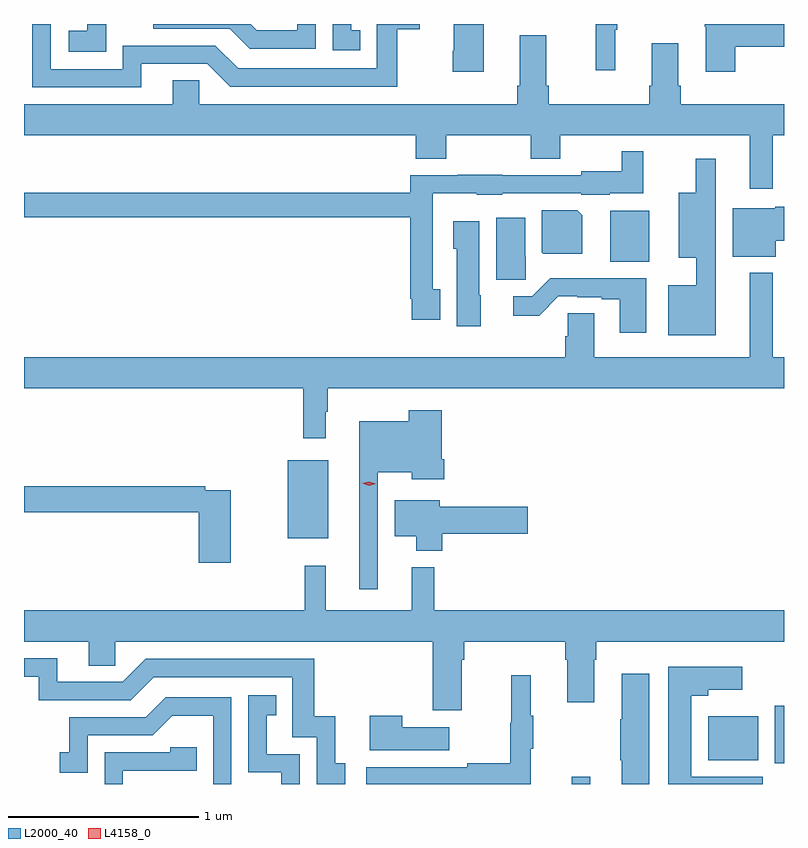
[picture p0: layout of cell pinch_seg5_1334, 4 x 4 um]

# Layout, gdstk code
import gdstk
lib = gdstk.Library(unit=1e-6, precision=1e-09)
def R(c, l, rs):  # rectangles x0, y0, x1, y1
    for r in rs: c.add(gdstk.rectangle(r[:2], r[2:], *l))
def P(c, l, *ps):  # polygons
    for p in ps: c.add(gdstk.Polygon(p, *l))
L2000_40 = (2000, 40)
L4158_0 = (4158, 0)

pinch_seg5_1334 = lib.new_cell('pinch_seg5_1334')
R(pinch_seg5_1334, L2000_40, [(295.611,901.298,295.708,901.336), (296.681,901.406,296.729,901.711), (296.33,901.424,296.593,901.654), (294.116,902.591,294.331,903.001), (295.814,904.046,296.02,904.316)])
P(pinch_seg5_1334, L2000_40, [(294.264,905.298),(294.168,905.298),(294.168,905.266),(293.954,905.266),(293.922,905.298),(293.41,905.298),(293.41,905.274),(293.813,905.274),(293.918,905.169),(294.264,905.169)],
  [(293.347,905.088),(293.694,905.088),(293.814,904.968),(294.694,904.968),(294.694,905.271),(294.812,905.271),(294.812,905.298),(294.585,905.298),(294.585,905.064),(293.856,905.064),(293.736,905.184),(293.25,905.184),(293.25,905.061),(292.869,905.061),(292.869,905.298),(292.773,905.298),(292.773,904.965),(293.347,904.965)],
  [(293.163,905.298),(293.063,905.298),(293.063,905.263),(292.965,905.263),(292.965,905.153),(293.163,905.153)],
  [(295.15,905.298),(294.992,905.298),(294.992,905.158),(294.985,905.158),(294.985,905.046),(295.15,905.046)],
  [(296.472,905.178),(296.729,905.178),(296.729,905.298),(296.311,905.298),(296.311,905.283),(296.318,905.283),(296.318,905.046),(296.472,905.046)],
  [(294.5,905.265),(294.451,905.265),(294.451,905.298),(294.354,905.298),(294.354,905.16),(294.5,905.16)],
  [(295.841,905.267),(295.852,905.267),(295.852,905.298),(295.738,905.298),(295.738,905.055),(295.841,905.055)],
  [(296.671,904.712),(296.729,904.712),(296.729,904.876),(296.186,904.876),(296.186,904.972),(296.173,904.972),(296.173,905.197),(296.033,905.197),(296.033,904.972),(296.021,904.972),(296.021,904.876),(295.49,904.876),(295.49,904.972),(295.477,904.972),(295.477,905.239),(295.337,905.239),(295.337,904.972),(295.325,904.972),(295.325,904.876),(293.652,904.876),(293.652,905.003),(293.513,905.003),(293.513,904.876),(292.729,904.876),(292.729,904.712),(294.791,904.712),(294.791,904.588),(294.951,904.588),(294.951,904.712),(295.396,904.712),(295.396,904.588),(295.551,904.588),(295.551,904.712),(296.549,904.712),(296.549,904.431),(296.671,904.431)],
  [(294.919,903.902),(294.879,903.902),(294.879,904.406),(295.113,904.406),(295.113,904.4),(295.245,904.4),(295.245,904.407),(295.662,904.407),(295.662,904.4),(295.812,904.4),(295.812,904.406),(295.988,904.406),(295.988,904.627),(295.875,904.627),(295.875,904.522),(295.662,904.522),(295.662,904.503),(295.245,904.503),(295.245,904.505),(295.013,904.505),(295.013,904.503),(294.763,904.503),(294.763,904.411),(292.729,904.411),(292.729,904.282),(294.763,904.282),(294.763,903.853),(294.771,903.853),(294.771,903.741),(294.919,903.741)],
  [(296.371,904.588),(296.265,904.588),(296.265,904.411),(296.174,904.411),(296.174,904.067),(296.267,904.067),(296.267,903.922),(296.12,903.922),(296.12,903.659),(296.371,903.659)],
  [(296.686,904.157),(296.729,904.157),(296.729,904.335),(296.682,904.335),(296.682,904.327),(296.459,904.327),(296.459,904.073),(296.686,904.073)],
  [(295.666,904.292),(295.64,904.318),(295.454,904.318),(295.454,904.096),(295.462,904.088),(295.666,904.088)],
  [(295.37,904.074),(295.366,904.074),(295.366,904.279),(295.214,904.279),(295.214,903.951),(295.37,903.951)],
  [(295.132,903.87),(295.126,903.87),(295.126,904.261),(294.989,904.261),(294.989,904.116),(295.007,904.116),(295.007,903.708),(295.132,903.708)],
  [(294.316,903.257),(294.328,903.257),(294.328,903.38),(296.729,903.38),(296.729,903.544),(296.671,903.544),(296.671,903.988),(296.549,903.988),(296.549,903.544),(295.729,903.544),(295.729,903.776),(295.59,903.776),(295.59,903.654),(295.577,903.654),(295.577,903.544),(292.729,903.544),(292.729,903.38),(294.199,903.38),(294.199,903.117),(294.316,903.117)],
  [(296.005,903.959),(295.499,903.959),(295.404,903.864),(295.305,903.864),(295.305,903.762),(295.44,903.762),(295.542,903.864),(295.642,903.864),(295.642,903.861),(295.769,903.861),(295.769,903.849),(295.865,903.849),(295.865,903.672),(296.005,903.672)],
  [(294.591,902.939),(294.77,902.939),(294.77,902.903),(294.941,902.903),(294.941,903.007),(294.928,903.007),(294.928,903.265),(294.753,903.265),(294.753,903.208),(294.494,903.208),(294.494,902.322),(294.591,902.322)],
  [(293.818,902.844),(293.684,902.844),(293.684,902.864),(292.729,902.864),(292.729,902.728),(293.648,902.728),(293.648,902.463),(293.818,902.463)],
  [(294.929,902.614),(295.381,902.614),(295.381,902.756),(294.916,902.756),(294.916,902.791),(294.68,902.791),(294.68,902.603),(294.794,902.603),(294.794,902.525),(294.929,902.525)],
  [(295.033,901.952),(295.046,901.952),(295.046,902.048),(295.577,902.048),(295.577,901.952),(295.589,901.952),(295.589,901.728),(295.729,901.728),(295.729,901.952),(295.742,901.952),(295.742,902.048),(296.729,902.048),(296.729,902.212),(294.887,902.212),(294.887,902.44),(294.77,902.44),(294.77,902.212),(294.317,902.212),(294.317,902.446),(294.207,902.446),(294.207,902.212),(292.729,902.212),(292.729,902.048),(293.069,902.048),(293.069,901.921),(293.208,901.921),(293.208,902.048),(294.881,902.048),(294.881,901.686),(295.033,901.686)],
  [(294.421,901.407),(294.368,901.407),(294.368,901.654),(294.257,901.654),(294.257,901.956),(293.37,901.956),(293.25,901.836),(292.903,901.836),(292.903,901.959),(292.729,901.959),(292.729,901.863),(292.806,901.863),(292.806,901.74),(293.292,901.74),(293.412,901.86),(294.141,901.86),(294.141,901.545),(294.27,901.545),(294.27,901.298),(294.421,901.298)],
  [(296.617,901.336),(296.242,901.336),(296.242,901.763),(296.329,901.763),(296.329,901.793),(296.509,901.793),(296.509,901.915),(296.12,901.915),(296.12,901.298),(296.617,901.298)],
  [(296.02,901.879),(295.874,901.879),(295.874,901.64),(295.867,901.64),(295.867,901.423),(295.874,901.423),(295.874,901.298),(296.02,901.298)],
  [(295.397,901.483),(295.408,901.483),(295.408,901.657),(295.397,901.657),(295.397,901.87),(295.294,901.87),(295.294,901.62),(295.287,901.62),(295.287,901.406),(295.063,901.406),(295.063,901.386),(294.531,901.386),(294.531,901.298),(295.397,901.298)],
  [(294.18,901.455),(294.007,901.455),(294.007,901.659),(294.056,901.659),(294.056,901.765),(293.91,901.765),(293.91,901.359),(294.084,901.359),(294.084,901.298),(294.18,901.298)],
  [(293.82,901.755),(293.474,901.755),(293.369,901.65),(292.966,901.65),(292.966,901.465),(292.917,901.465),(292.917,901.356),(293.064,901.356),(293.064,901.554),(293.406,901.554),(293.51,901.658),(293.724,901.658),(293.724,901.298),(293.82,901.298)],
  [(294.967,901.597),(294.719,901.597),(294.719,901.657),(294.548,901.657),(294.548,901.475),(294.967,901.475)],
  [(293.25,901.368),(293.639,901.368),(293.639,901.491),(293.499,901.491),(293.499,901.464),(293.154,901.464),(293.154,901.298),(293.25,901.298)])
P(pinch_seg5_1334, L4158_0, [(294.545,902.869),(294.51,902.88),(294.51,902.88),(294.51,902.88),(294.546,902.888),(294.581,902.877),(294.581,902.877),(294.581,902.877)])

lib.write_gds('pinch_seg5_1334.gds')
